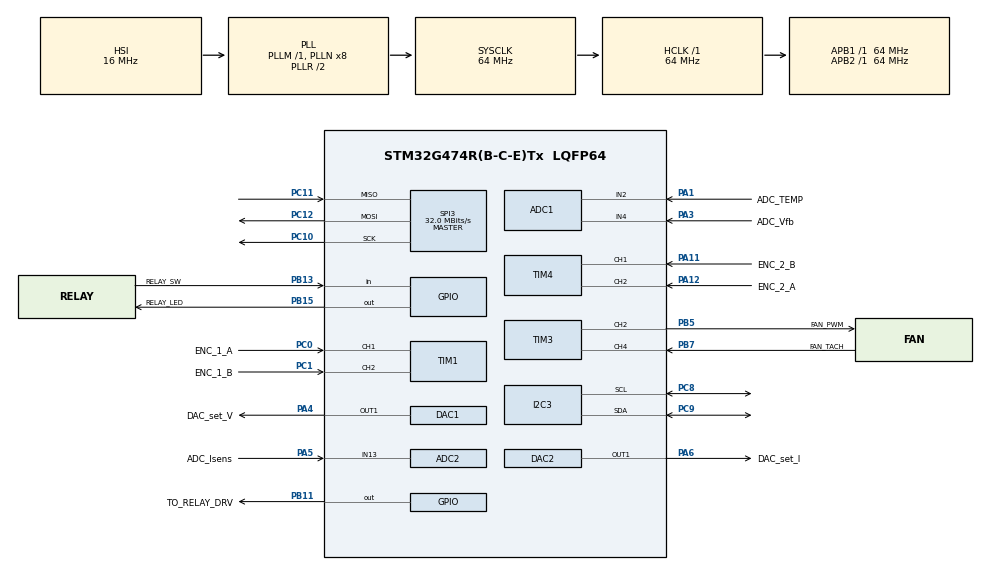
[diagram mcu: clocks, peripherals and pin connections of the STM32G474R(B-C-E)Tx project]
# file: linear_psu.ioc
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ADC1.Channel-0\#ChannelRegularConversion=ADC_CHANNEL_2
ADC1.NbrOfConversionFlag=1
ADC1.OffsetNumber-0\#ChannelRegularConversion=ADC_OFFSET_NONE
ADC1.Rank-0\#ChannelRegularConversion=1
ADC1.SamplingTime-0\#ChannelRegularConversion=ADC_SAMPLETIME_2CYCLES_5
ADC1.master=1
ADC2.Channel-0\#ChannelRegularConversion=ADC_CHANNEL_13
ADC2.NbrOfConversionFlag=1
ADC2.OffsetNumber-0\#ChannelRegularConversion=ADC_OFFSET_NONE
ADC2.Rank-0\#ChannelRegularConversion=1
ADC2.SamplingTime-0\#ChannelRegularConversion=ADC_SAMPLETIME_2CYCLES_5
I2C3.Timing=0x10B17DB5
Mcu.Family=STM32G4
Mcu.Name=STM32G474R(B-C-E)Tx
Mcu.Package=LQFP64
NVIC.PriorityGroup=NVIC_PRIORITYGROUP_4
PA1.GPIO_Label=ADC_TEMP
PA1.Mode=IN2-Single-Ended
PA1.Signal=ADC1_IN2
PA11.GPIO_Label=ENC_2_B
PA11.Signal=S_TIM4_CH1
PA12.GPIO_Label=ENC_2_A
PA12.Signal=S_TIM4_CH2
PA13.Mode=Serial_Wire
PA13.Signal=SYS_JTMS-SWDIO
PA14.Mode=Serial_Wire
PA14.Signal=SYS_JTCK-SWCLK
PA3.GPIO_Label=ADC_Vfb
PA3.Mode=IN4-Single-Ended
PA3.Signal=ADC1_IN4
PA4.GPIO_Label=DAC_set_V
PA4.Signal=COMP_DAC11_group
PA5.GPIO_Label=ADC_Isens
PA5.Mode=IN13-Single-Ended
PA5.Signal=ADC2_IN13
PA6.GPIO_Label=DAC_set_I
PA6.Signal=COMP_DAC21_group
PB11.GPIO_Label=TO_RELAY_DRV
PB11.Signal=GPIO_Output
PB13.GPIO_Label=RELAY_SW
PB13.Signal=GPIO_Input
PB15.GPIO_Label=RELAY_LED
PB15.Signal=GPIO_Output
PB5.GPIO_Label=FAN_PWM
PB5.Signal=S_TIM3_CH2
PB7.GPIO_Label=FAN_TACH
PB7.Signal=S_TIM3_CH4
PC0.GPIO_Label=ENC_1_A
PC0.Signal=S_TIM1_CH1
PC1.GPIO_Label=ENC_1_B
PC1.Signal=S_TIM1_CH2
PC10.Mode=Full_Duplex_Master
PC10.Signal=SPI3_SCK
PC11.Mode=Full_Duplex_Master
PC11.Signal=SPI3_MISO
PC12.Mode=Full_Duplex_Master
PC12.Signal=SPI3_MOSI
PC8.GPIO_Pu=GPIO_PULLUP
PC8.Mode=I2C
PC8.Signal=I2C3_SCL
PC9.GPIO_Pu=GPIO_PULLUP
PC9.Mode=I2C
PC9.Signal=I2C3_SDA
PF0-OSC_IN.Mode=HSE-External-Oscillator
PF0-OSC_IN.Signal=RCC_OSC_IN
PF1-OSC_OUT.Mode=HSE-External-Oscillator
PF1-OSC_OUT.Signal=RCC_OSC_OUT
ProjectManager.HeapSize=0x200
ProjectManager.StackSize=0x400
ProjectManager.TargetToolchain=CMake
RCC.ADC12Freq_Value=64000000
RCC.ADC345Freq_Value=64000000
RCC.AHBFreq_Value=64000000
RCC.APB1Freq_Value=64000000
RCC.APB1TimFreq_Value=64000000
RCC.APB2Freq_Value=64000000
RCC.APB2TimFreq_Value=64000000
RCC.CortexFreq_Value=64000000
RCC.EXTERNAL_CLOCK_VALUE=12288000
RCC.HCLKFreq_Value=64000000
RCC.HSE_VALUE=16000000
RCC.HSI48_VALUE=48000000
RCC.HSI_VALUE=16000000
RCC.LSE_VALUE=32768
RCC.SYSCLKFreq_VALUE=64000000
RCC.SYSCLKSource=RCC_SYSCLKSOURCE_PLLCLK
RCC.USBFreq_Value=64000000
RCC.VCOOutputFreq_Value=128000000
SH.COMP_DAC11_group.0=DAC1_OUT1,DAC_OUT1
SH.COMP_DAC21_group.0=DAC2_OUT1,DAC_OUT1
SH.S_TIM1_CH1.0=TIM1_CH1,Encoder_Interface
SH.S_TIM1_CH2.0=TIM1_CH2,Encoder_Interface
SH.S_TIM3_CH2.0=TIM3_CH2,PWM Generation2 CH2
SH.S_TIM3_CH4.0=TIM3_CH4,Input_Capture4_from_TI4
SH.S_TIM4_CH1.0=TIM4_CH1,Encoder_Interface
SH.S_TIM4_CH2.0=TIM4_CH2,Encoder_Interface
SPI3.CalculateBaudRate=32.0 MBits/s
SPI3.Direction=SPI_DIRECTION_2LINES
SPI3.Mode=SPI_MODE_MASTER
SPI3.VirtualType=VM_MASTER
TIM3.Channel-Input_Capture4_from_TI4=TIM_CHANNEL_4
TIM3.Channel-PWM\ Generation2\ CH2=TIM_CHANNEL_2
VP_SYS_VS_DBSignals.Mode=DisableDeadBatterySignals
board=custom

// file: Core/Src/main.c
/* USER CODE BEGIN Header */
/**
  ******************************************************************************
  * @file           : main.c
  * @brief          : Main program body
  ******************************************************************************
  * @attention
  *
  * Copyright (c) 2025 STMicroelectronics.
  * All rights reserved.
  *
  * This software is licensed under terms that can be found in the LICENSE file
  * in the root directory of this software component.
  * If no LICENSE file comes with this software, it is provided AS-IS.
  *
  ******************************************************************************
  */
/* USER CODE END Header */
#include "main.h"

/* USER CODE BEGIN Includes */
#include "stdio.h"
#include "lcd.h"
/* USER CODE END Includes */

/* USER CODE BEGIN PD */
#define VOLTAGE_VREF 3.3f
#define VFB_DIV_RATIO 11.0f
#define VMIN_mV 1000
#define VMAX_mV 20000
#define IMIN_mA 0
#define IMAX_mA 5000
#define SHUNT_RESISTOR_mOhm 0.04f
#define CURRENT_SENSE_AMP_GAIN 25.0f
#define DAC_RESOLUTION 4095

#define ADC_RESOLUTION 4095

#define DEBOUNCE_DELAY_MS 50
#define COOLDOWN_TIME_MS 1000

/* USER CODE END PD */

ADC_HandleTypeDef hadc1;
ADC_HandleTypeDef hadc2;

DAC_HandleTypeDef hdac1;
DAC_HandleTypeDef hdac2;

I2C_HandleTypeDef hi2c3;

SPI_HandleTypeDef hspi3;

TIM_HandleTypeDef htim1;
TIM_HandleTypeDef htim3;
TIM_HandleTypeDef htim4;

/* USER CODE BEGIN PV */
volatile uint8_t RelayState = 0;
volatile uint32_t LastToggleTime = 0;

uint32_t raw_adc_voltage = 0;
uint32_t raw_adc_current = 0;

float feedback_voltage_V = 0.0f;
float current_sense_voltage_V = 0.0f;

static uint32_t last_button_press_time = 0;
static GPIO_PinState last_button_state = GPIO_PIN_SET;
/* USER CODE END PV */

void SystemClock_Config(void);
static void MX_GPIO_Init(void);
static void MX_ADC1_Init(void);
static void MX_ADC2_Init(void);
static void MX_DAC1_Init(void);
static void MX_DAC2_Init(void);
static void MX_I2C3_Init(void);
static void MX_SPI3_Init(void);
static void MX_TIM1_Init(void);
static void MX_TIM3_Init(void);
static void MX_TIM4_Init(void);
/* USER CODE BEGIN PFP */
void Button_Toggle_Task(void);
static uint16_t MapVoltageToDAC(uint16_t voltage_mv);
static void UpdateLCD(void);
/* USER CODE END PFP */

int main(void)
{

  /* MCU Configuration--------------------------------------------------------*/

  /* Reset of all peripherals, Initializes the Flash interface and the Systick. */
  HAL_Init();

  /* Configure the system clock */
  SystemClock_Config();

  /* Initialize all configured peripherals */
  MX_GPIO_Init();
  MX_ADC1_Init();
  MX_ADC2_Init();
  MX_DAC1_Init();
  MX_DAC2_Init();
  MX_I2C3_Init();
  MX_SPI3_Init();
  MX_TIM1_Init();
  MX_TIM3_Init();
  MX_TIM4_Init();
  /* USER CODE BEGIN 2 */
  HAL_DAC_Start(&hdac1, DAC_CHANNEL_1); // Voltage
  HAL_DAC_Start(&hdac1, DAC_CHANNEL_2); // Current
  uint16_t Vset_mV = 0;
  uint16_t Iset_mA = 0;

  HAL_TIM_Encoder_Start(&htim1, TIM_CHANNEL_ALL);
  HAL_TIM_Encoder_Start(&htim4, TIM_CHANNEL_ALL);
  int16_t last_count_v = __HAL_TIM_GET_COUNTER(&htim1);
  int16_t last_count_i = __HAL_TIM_GET_COUNTER(&htim4);
  int32_t encoder_value_v = 0;
  int32_t encoder_value_i = 0;

  //ADC configuration
  HAL_ADCEx_Calibration_Start(&hadc1, ADC_SINGLE_ENDED);
  HAL_ADCEx_Calibration_Start(&hadc2, ADC_SINGLE_ENDED);
  float output_voltage = 0.0f;
  float load_current_A = 0.0f;

  LCD_init(&hi2c3, 0x27);

  HAL_Delay(2000);
  HAL_GPIO_WritePin(GPIOB, TO_RELAY_DRV_Pin, GPIO_PIN_SET);

  /* USER CODE END 2 */

  /* Infinite loop */
  while (1)
  {
    LCD_clear();
    Button_Toggle_Task();

    int16_t count_v = __HAL_TIM_GET_COUNTER(&htim1);
    int16_t diff_v = count_v - last_count_v;

    int16_t count_i = __HAL_TIM_GET_COUNTER(&htim4);
    int16_t diff_i = count_i - last_count_i;

    if(diff_v > 32767) diff_v -= 65536;
    if(diff_v < -32768) diff_v += 65536;

    if(diff_i > 32767) diff_i -= 65536;
    if(diff_i < -32768) diff_i += 65536;

    encoder_value_v += diff_v;
    last_count_v = count_v;

    encoder_value_i += diff_i;
    last_count_i = count_i;

    Vset_mV = VMIN_mV + encoder_value_v * 10;
    if(Vset_mV < VMIN_mV) Vset_mV = VMIN_mV;
    if(Vset_mV > VMAX_mV) Vset_mV = VMAX_mV;

    Iset_mA = IMIN_mA + encoder_value_i * 5;
    if(Iset_mA < IMIN_mA) Iset_mA = IMIN_mA;
    if(Iset_mA > IMAX_mA) Iset_mA = IMAX_mA;

    uint16_t dac_val_v = MapVoltageToDAC(Vset_mV);
    HAL_DAC_SetValue(&hdac1, DAC_CHANNEL_1, DAC_ALIGN_12B_R, dac_val_v);

    uint16_t dac_val_i = MapCurrentToDAC(Iset_mA);
    HAL_DAC_SetValue(&hdac2, DAC_CHANNEL_1, DAC_ALIGN_12B_R, dac_val_i);

    if (Read_Dual_ADC_Modules(&hadc1, &hadc2, &feedback_voltage_V, &current_sense_voltage_V) == HAL_OK)
    {
      output_voltage = feedback_voltage_V * VFB_DIV_RATIO;
      load_current_A = current_sense_voltage_V / (SHUNT_RESISTOR_mOhm * CURRENT_SENSE_AMP_GAIN);
    }

    char msg[128];
    char msg2[128];
    char msg3[128];
    char msg4[128];
    sprintf(msg, "Set: %d mV %d mA", Vset_mV, Iset_mA);
    LCD_write_str(msg);

    LCD_set_pos(0, 1);
    sprintf(msg2, "Act: %d mV %d mA", output_voltage, load_current_A);
    LCD_write_str(msg2);

    LCD_set_pos(0, 2);
    sprintf(msg3, "hogehoge", 0);
    LCD_write_str(msg3);

    HAL_Delay(100);

  }
}

void SystemClock_Config(void)
{
  RCC_OscInitTypeDef RCC_OscInitStruct = {0};
  RCC_ClkInitTypeDef RCC_ClkInitStruct = {0};

  /** Configure the main internal regulator output voltage
  */
  HAL_PWREx_ControlVoltageScaling(PWR_REGULATOR_VOLTAGE_SCALE1);

  /** Initializes the RCC Oscillators according to the specified parameters
  * in the RCC_OscInitTypeDef structure.
  */
  RCC_OscInitStruct.OscillatorType = RCC_OSCILLATORTYPE_HSI;
  RCC_OscInitStruct.HSIState = RCC_HSI_ON;
  RCC_OscInitStruct.HSICalibrationValue = RCC_HSICALIBRATION_DEFAULT;
  RCC_OscInitStruct.PLL.PLLState = RCC_PLL_ON;
  RCC_OscInitStruct.PLL.PLLSource = RCC_PLLSOURCE_HSI;
  RCC_OscInitStruct.PLL.PLLM = RCC_PLLM_DIV1;
  RCC_OscInitStruct.PLL.PLLN = 8;
  RCC_OscInitStruct.PLL.PLLP = RCC_PLLP_DIV2;
  RCC_OscInitStruct.PLL.PLLQ = RCC_PLLQ_DIV2;
  RCC_OscInitStruct.PLL.PLLR = RCC_PLLR_DIV2;
  if (HAL_RCC_OscConfig(&RCC_OscInitStruct) != HAL_OK)
  {
    Error_Handler();
  }

  /** Initializes the CPU, AHB and APB buses clocks
  */
  RCC_ClkInitStruct.ClockType = RCC_CLOCKTYPE_HCLK|RCC_CLOCKTYPE_SYSCLK
                              |RCC_CLOCKTYPE_PCLK1|RCC_CLOCKTYPE_PCLK2;
  RCC_ClkInitStruct.SYSCLKSource = RCC_SYSCLKSOURCE_PLLCLK;
  RCC_ClkInitStruct.AHBCLKDivider = RCC_SYSCLK_DIV1;
  RCC_ClkInitStruct.APB1CLKDivider = RCC_HCLK_DIV1;
  RCC_ClkInitStruct.APB2CLKDivider = RCC_HCLK_DIV1;

  if (HAL_RCC_ClockConfig(&RCC_ClkInitStruct, FLASH_LATENCY_2) != HAL_OK)
  {
    Error_Handler();
  }
}

static void MX_ADC1_Init(void)
{

  ADC_MultiModeTypeDef multimode = {0};
  ADC_ChannelConfTypeDef sConfig = {0};

  /** Common config
  */
  hadc1.Instance = ADC1;
  hadc1.Init.ClockPrescaler = ADC_CLOCK_SYNC_PCLK_DIV2;
  hadc1.Init.Resolution = ADC_RESOLUTION_12B;
  hadc1.Init.DataAlign = ADC_DATAALIGN_RIGHT;
  hadc1.Init.GainCompensation = 0;
  hadc1.Init.ScanConvMode = ADC_SCAN_DISABLE;
  hadc1.Init.EOCSelection = ADC_EOC_SINGLE_CONV;
  hadc1.Init.LowPowerAutoWait = DISABLE;
  hadc1.Init.ContinuousConvMode = DISABLE;
  hadc1.Init.NbrOfConversion = 1;
  hadc1.Init.DiscontinuousConvMode = DISABLE;
  hadc1.Init.ExternalTrigConv = ADC_SOFTWARE_START;
  hadc1.Init.ExternalTrigConvEdge = ADC_EXTERNALTRIGCONVEDGE_NONE;
  hadc1.Init.DMAContinuousRequests = DISABLE;
  hadc1.Init.Overrun = ADC_OVR_DATA_PRESERVED;
  hadc1.Init.OversamplingMode = DISABLE;
  if (HAL_ADC_Init(&hadc1) != HAL_OK)
  {
    Error_Handler();
  }

  /** Configure the ADC multi-mode
  */
  multimode.Mode = ADC_MODE_INDEPENDENT;
  if (HAL_ADCEx_MultiModeConfigChannel(&hadc1, &multimode) != HAL_OK)
  {
    Error_Handler();
  }

  /** Configure Regular Channel
  */
  sConfig.Channel = ADC_CHANNEL_2;
  sConfig.Rank = ADC_REGULAR_RANK_1;
  sConfig.SamplingTime = ADC_SAMPLETIME_2CYCLES_5;
  sConfig.SingleDiff = ADC_SINGLE_ENDED;
  sConfig.OffsetNumber = ADC_OFFSET_NONE;
  sConfig.Offset = 0;
  if (HAL_ADC_ConfigChannel(&hadc1, &sConfig) != HAL_OK)
  {
    Error_Handler();
  }

}

static void MX_ADC2_Init(void)
{

  ADC_ChannelConfTypeDef sConfig = {0};

  /** Common config
  */
  hadc2.Instance = ADC2;
  hadc2.Init.ClockPrescaler = ADC_CLOCK_SYNC_PCLK_DIV2;
  hadc2.Init.Resolution = ADC_RESOLUTION_12B;
  hadc2.Init.DataAlign = ADC_DATAALIGN_RIGHT;
  hadc2.Init.GainCompensation = 0;
  hadc2.Init.ScanConvMode = ADC_SCAN_DISABLE;
  hadc2.Init.EOCSelection = ADC_EOC_SINGLE_CONV;
  hadc2.Init.LowPowerAutoWait = DISABLE;
  hadc2.Init.ContinuousConvMode = DISABLE;
  hadc2.Init.NbrOfConversion = 1;
  hadc2.Init.DiscontinuousConvMode = DISABLE;
  hadc2.Init.ExternalTrigConv = ADC_SOFTWARE_START;
  hadc2.Init.ExternalTrigConvEdge = ADC_EXTERNALTRIGCONVEDGE_NONE;
  hadc2.Init.DMAContinuousRequests = DISABLE;
  hadc2.Init.Overrun = ADC_OVR_DATA_PRESERVED;
  hadc2.Init.OversamplingMode = DISABLE;
  if (HAL_ADC_Init(&hadc2) != HAL_OK)
  {
    Error_Handler();
  }

  /** Configure Regular Channel
  */
  sConfig.Channel = ADC_CHANNEL_13;
  sConfig.Rank = ADC_REGULAR_RANK_1;
  sConfig.SamplingTime = ADC_SAMPLETIME_2CYCLES_5;
  sConfig.SingleDiff = ADC_SINGLE_ENDED;
  sConfig.OffsetNumber = ADC_OFFSET_NONE;
  sConfig.Offset = 0;
  if (HAL_ADC_ConfigChannel(&hadc2, &sConfig) != HAL_OK)
  {
    Error_Handler();
  }

}

static void MX_DAC1_Init(void)
{

  DAC_ChannelConfTypeDef sConfig = {0};

  /** DAC Initialization
  */
  hdac1.Instance = DAC1;
  if (HAL_DAC_Init(&hdac1) != HAL_OK)
  {
    Error_Handler();
  }

  /** DAC channel OUT1 config
  */
  sConfig.DAC_HighFrequency = DAC_HIGH_FREQUENCY_INTERFACE_MODE_AUTOMATIC;
  sConfig.DAC_DMADoubleDataMode = DISABLE;
  sConfig.DAC_SignedFormat = DISABLE;
  sConfig.DAC_SampleAndHold = DAC_SAMPLEANDHOLD_DISABLE;
  sConfig.DAC_Trigger = DAC_TRIGGER_NONE;
  sConfig.DAC_Trigger2 = DAC_TRIGGER_NONE;
  sConfig.DAC_OutputBuffer = DAC_OUTPUTBUFFER_ENABLE;
  sConfig.DAC_ConnectOnChipPeripheral = DAC_CHIPCONNECT_EXTERNAL;
  sConfig.DAC_UserTrimming = DAC_TRIMMING_FACTORY;
  if (HAL_DAC_ConfigChannel(&hdac1, &sConfig, DAC_CHANNEL_1) != HAL_OK)
  {
    Error_Handler();
  }

}

static void MX_DAC2_Init(void)
{

  DAC_ChannelConfTypeDef sConfig = {0};

  /** DAC Initialization
  */
  hdac2.Instance = DAC2;
  if (HAL_DAC_Init(&hdac2) != HAL_OK)
  {
    Error_Handler();
  }

  /** DAC channel OUT1 config
  */
  sConfig.DAC_HighFrequency = DAC_HIGH_FREQUENCY_INTERFACE_MODE_AUTOMATIC;
  sConfig.DAC_DMADoubleDataMode = DISABLE;
  sConfig.DAC_SignedFormat = DISABLE;
  sConfig.DAC_SampleAndHold = DAC_SAMPLEANDHOLD_DISABLE;
  sConfig.DAC_Trigger = DAC_TRIGGER_NONE;
  sConfig.DAC_Trigger2 = DAC_TRIGGER_NONE;
  sConfig.DAC_OutputBuffer = DAC_OUTPUTBUFFER_ENABLE;
  sConfig.DAC_ConnectOnChipPeripheral = DAC_CHIPCONNECT_EXTERNAL;
  sConfig.DAC_UserTrimming = DAC_TRIMMING_FACTORY;
  if (HAL_DAC_ConfigChannel(&hdac2, &sConfig, DAC_CHANNEL_1) != HAL_OK)
  {
    Error_Handler();
  }

}

static void MX_I2C3_Init(void)
{

  hi2c3.Instance = I2C3;
  hi2c3.Init.Timing = 0x10B17DB5;
  hi2c3.Init.OwnAddress1 = 0;
  hi2c3.Init.AddressingMode = I2C_ADDRESSINGMODE_7BIT;
  hi2c3.Init.DualAddressMode = I2C_DUALADDRESS_DISABLE;
  hi2c3.Init.OwnAddress2 = 0;
  hi2c3.Init.OwnAddress2Masks = I2C_OA2_NOMASK;
  hi2c3.Init.GeneralCallMode = I2C_GENERALCALL_DISABLE;
  hi2c3.Init.NoStretchMode = I2C_NOSTRETCH_DISABLE;
  if (HAL_I2C_Init(&hi2c3) != HAL_OK)
  {
    Error_Handler();
  }

  /** Configure Analogue filter
  */
  if (HAL_I2CEx_ConfigAnalogFilter(&hi2c3, I2C_ANALOGFILTER_ENABLE) != HAL_OK)
  {
    Error_Handler();
  }

  /** Configure Digital filter
  */
  if (HAL_I2CEx_ConfigDigitalFilter(&hi2c3, 0) != HAL_OK)
  {
    Error_Handler();
  }

}

static void MX_SPI3_Init(void)
{

  /* SPI3 parameter configuration*/
  hspi3.Instance = SPI3;
  hspi3.Init.Mode = SPI_MODE_MASTER;
  hspi3.Init.Direction = SPI_DIRECTION_2LINES;
  hspi3.Init.DataSize = SPI_DATASIZE_4BIT;
  hspi3.Init.CLKPolarity = SPI_POLARITY_LOW;
  hspi3.Init.CLKPhase = SPI_PHASE_1EDGE;
  hspi3.Init.NSS = SPI_NSS_SOFT;
  hspi3.Init.BaudRatePrescaler = SPI_BAUDRATEPRESCALER_2;
  hspi3.Init.FirstBit = SPI_FIRSTBIT_MSB;
  hspi3.Init.TIMode = SPI_TIMODE_DISABLE;
  hspi3.Init.CRCCalculation = SPI_CRCCALCULATION_DISABLE;
  hspi3.Init.CRCPolynomial = 7;
  hspi3.Init.CRCLength = SPI_CRC_LENGTH_DATASIZE;
  hspi3.Init.NSSPMode = SPI_NSS_PULSE_ENABLE;
  if (HAL_SPI_Init(&hspi3) != HAL_OK)
  {
    Error_Handler();
  }

}

static void MX_TIM1_Init(void)
{

  TIM_Encoder_InitTypeDef sConfig = {0};
  TIM_MasterConfigTypeDef sMasterConfig = {0};

  htim1.Instance = TIM1;
  htim1.Init.Prescaler = 0;
  htim1.Init.CounterMode = TIM_COUNTERMODE_UP;
  htim1.Init.Period = 65535;
  htim1.Init.ClockDivision = TIM_CLOCKDIVISION_DIV1;
  htim1.Init.RepetitionCounter = 0;
  htim1.Init.AutoReloadPreload = TIM_AUTORELOAD_PRELOAD_DISABLE;
  sConfig.EncoderMode = TIM_ENCODERMODE_TI1;
  sConfig.IC1Polarity = TIM_ICPOLARITY_RISING;
  sConfig.IC1Selection = TIM_ICSELECTION_DIRECTTI;
  sConfig.IC1Prescaler = TIM_ICPSC_DIV1;
  sConfig.IC1Filter = 0;
  sConfig.IC2Polarity = TIM_ICPOLARITY_RISING;
  sConfig.IC2Selection = TIM_ICSELECTION_DIRECTTI;
  sConfig.IC2Prescaler = TIM_ICPSC_DIV1;
  sConfig.IC2Filter = 0;
  if (HAL_TIM_Encoder_Init(&htim1, &sConfig) != HAL_OK)
  {
    Error_Handler();
  }
  sMasterConfig.MasterOutputTrigger = TIM_TRGO_RESET;
  sMasterConfig.MasterOutputTrigger2 = TIM_TRGO2_RESET;
  sMasterConfig.MasterSlaveMode = TIM_MASTERSLAVEMODE_DISABLE;
  if (HAL_TIMEx_MasterConfigSynchronization(&htim1, &sMasterConfig) != HAL_OK)
  {
    Error_Handler();
  }

}

static void MX_TIM3_Init(void)
{

  TIM_MasterConfigTypeDef sMasterConfig = {0};
  TIM_OC_InitTypeDef sConfigOC = {0};
  TIM_IC_InitTypeDef sConfigIC = {0};

  htim3.Instance = TIM3;
  htim3.Init.Prescaler = 0;
  htim3.Init.CounterMode = TIM_COUNTERMODE_UP;
  htim3.Init.Period = 65535;
  htim3.Init.ClockDivision = TIM_CLOCKDIVISION_DIV1;
  htim3.Init.AutoReloadPreload = TIM_AUTORELOAD_PRELOAD_DISABLE;
  if (HAL_TIM_PWM_Init(&htim3) != HAL_OK)
  {
    Error_Handler();
  }
  if (HAL_TIM_IC_Init(&htim3) != HAL_OK)
  {
    Error_Handler();
  }
  sMasterConfig.MasterOutputTrigger = TIM_TRGO_RESET;
  sMasterConfig.MasterSlaveMode = TIM_MASTERSLAVEMODE_DISABLE;
  if (HAL_TIMEx_MasterConfigSynchronization(&htim3, &sMasterConfig) != HAL_OK)
  {
    Error_Handler();
  }
  sConfigOC.OCMode = TIM_OCMODE_PWM1;
  sConfigOC.Pulse = 0;
  sConfigOC.OCPolarity = TIM_OCPOLARITY_HIGH;
  sConfigOC.OCFastMode = TIM_OCFAST_DISABLE;
  if (HAL_TIM_PWM_ConfigChannel(&htim3, &sConfigOC, TIM_CHANNEL_2) != HAL_OK)
  {
    Error_Handler();
  }
  sConfigIC.ICPolarity = TIM_INPUTCHANNELPOLARITY_RISING;
  sConfigIC.ICSelection = TIM_ICSELECTION_DIRECTTI;
  sConfigIC.ICPrescaler = TIM_ICPSC_DIV1;
  sConfigIC.ICFilter = 0;
  if (HAL_TIM_IC_ConfigChannel(&htim3, &sConfigIC, TIM_CHANNEL_4) != HAL_OK)
  {
    Error_Handler();
  }
  HAL_TIM_MspPostInit(&htim3);

}

static void MX_TIM4_Init(void)
{

  TIM_Encoder_InitTypeDef sConfig = {0};
  TIM_MasterConfigTypeDef sMasterConfig = {0};

  htim4.Instance = TIM4;
  htim4.Init.Prescaler = 0;
  htim4.Init.CounterMode = TIM_COUNTERMODE_UP;
  htim4.Init.Period = 65535;
  htim4.Init.ClockDivision = TIM_CLOCKDIVISION_DIV1;
  htim4.Init.AutoReloadPreload = TIM_AUTORELOAD_PRELOAD_DISABLE;
  sConfig.EncoderMode = TIM_ENCODERMODE_TI1;
  sConfig.IC1Polarity = TIM_ICPOLARITY_RISING;
  sConfig.IC1Selection = TIM_ICSELECTION_DIRECTTI;
  sConfig.IC1Prescaler = TIM_ICPSC_DIV1;
  sConfig.IC1Filter = 0;
  sConfig.IC2Polarity = TIM_ICPOLARITY_RISING;
  sConfig.IC2Selection = TIM_ICSELECTION_DIRECTTI;
  sConfig.IC2Prescaler = TIM_ICPSC_DIV1;
  sConfig.IC2Filter = 0;
  if (HAL_TIM_Encoder_Init(&htim4, &sConfig) != HAL_OK)
  {
    Error_Handler();
  }
  sMasterConfig.MasterOutputTrigger = TIM_TRGO_RESET;
  sMasterConfig.MasterSlaveMode = TIM_MASTERSLAVEMODE_DISABLE;
  if (HAL_TIMEx_MasterConfigSynchronization(&htim4, &sMasterConfig) != HAL_OK)
  {
    Error_Handler();
  }

}

static void MX_GPIO_Init(void)
{
  GPIO_InitTypeDef GPIO_InitStruct = {0};

  /* GPIO Ports Clock Enable */
  __HAL_RCC_GPIOF_CLK_ENABLE();
  __HAL_RCC_GPIOC_CLK_ENABLE();
  __HAL_RCC_GPIOA_CLK_ENABLE();
  __HAL_RCC_GPIOB_CLK_ENABLE();

  /*Configure GPIO pin Output Level */
  HAL_GPIO_WritePin(GPIOB, TO_RELAY_DRV_Pin|RELAY_LED_Pin, GPIO_PIN_RESET);

  /*Configure GPIO pins : TO_RELAY_DRV_Pin RELAY_LED_Pin */
  GPIO_InitStruct.Pin = TO_RELAY_DRV_Pin|RELAY_LED_Pin;
  GPIO_InitStruct.Mode = GPIO_MODE_OUTPUT_PP;
  GPIO_InitStruct.Pull = GPIO_NOPULL;
  GPIO_InitStruct.Speed = GPIO_SPEED_FREQ_LOW;
  HAL_GPIO_Init(GPIOB, &GPIO_InitStruct);

  /*Configure GPIO pin : RELAY_SW_Pin */
  GPIO_InitStruct.Pin = RELAY_SW_Pin;
  GPIO_InitStruct.Mode = GPIO_MODE_INPUT;
  GPIO_InitStruct.Pull = GPIO_NOPULL;
  HAL_GPIO_Init(RELAY_SW_GPIO_Port, &GPIO_InitStruct);

}

/* USER CODE BEGIN 4 */
static uint16_t MapVoltageToDAC(uint16_t voltage_mv)
{
  float Vdac = ((float)voltage_mv / 1000.0f) / VFB_DIV_RATIO;
  float dac_ratio = Vdac / VOLTAGE_VREF;
  uint16_t dac_val = (uint16_t)(dac_ratio * DAC_RESOLUTION);

  if (dac_val > DAC_RESOLUTION) dac_val = DAC_RESOLUTION;
  return dac_val;
}

static uint16_t MapCurrentToDAC(uint16_t current_ma)
{
  float Idac = ((float)current_ma / 1000.0f) * SHUNT_RESISTOR_mOhm * CURRENT_SENSE_AMP_GAIN;
  float dac_ratio = Idac / VOLTAGE_VREF;
  uint16_t dac_val = (uint16_t)(dac_ratio * DAC_RESOLUTION);

  if (dac_val > DAC_RESOLUTION) dac_val = DAC_RESOLUTION;
  return dac_val;
}

void Button_Toggle_Task(void)
{
    GPIO_PinState current_button_state = HAL_GPIO_ReadPin(GPIOB, RELAY_SW_Pin);
    uint32_t current_time = HAL_GetTick();

    if (current_button_state == GPIO_PIN_RESET && last_button_state == GPIO_PIN_SET)
    {
        if ((current_time - last_button_press_time) > DEBOUNCE_DELAY_MS)
        {
            if ((current_time - LastToggleTime) >= COOLDOWN_TIME_MS)
            {
                RelayState = !RelayState;

                if (RelayState)
                {
                    HAL_GPIO_WritePin(GPIOB, TO_RELAY_DRV_Pin, GPIO_PIN_SET);
                    HAL_GPIO_WritePin(GPIOB, RELAY_LED_Pin, GPIO_PIN_SET);
                }
                else
                {
                    HAL_GPIO_WritePin(GPIOB, TO_RELAY_DRV_Pin, GPIO_PIN_RESET);
                    HAL_GPIO_WritePin(GPIOB, RELAY_LED_Pin, GPIO_PIN_RESET);
                }

                LastToggleTime = current_time;

                last_button_press_time = current_time;
            }
        }
    }

    last_button_state = current_button_state;
}
HAL_StatusTypeDef Read_Dual_ADC_Modules(ADC_HandleTypeDef *hadc_fb, ADC_HandleTypeDef *hadc_cs,
                                        float *p_feedback_V, float *p_current_V)
{
    uint32_t raw_adc_fb;
    uint32_t raw_adc_cs;

    // ----------------------------------------------------------------
    // 1. 帰還電圧 (hadc1) の読み取り
    // ----------------------------------------------------------------
    if (HAL_ADC_Start(hadc_fb) != HAL_OK) return HAL_ERROR;
    if (HAL_ADC_PollForConversion(hadc_fb, 10) != HAL_OK)
    {
        HAL_ADC_Stop(hadc_fb);
        return HAL_ERROR;
    }
    raw_adc_fb = HAL_ADC_GetValue(hadc_fb);
    HAL_ADC_Stop(hadc_fb);

    // ----------------------------------------------------------------
    // 2. 電流センス電圧 (hadc2) の読み取り
    // ----------------------------------------------------------------
    if (HAL_ADC_Start(hadc_cs) != HAL_OK) return HAL_ERROR;
    if (HAL_ADC_PollForConversion(hadc_cs, 10) != HAL_OK)
    {
        HAL_ADC_Stop(hadc_cs);
        return HAL_ERROR;
    }
    raw_adc_cs = HAL_ADC_GetValue(hadc_cs);
    HAL_ADC_Stop(hadc_cs);

    // ----------------------------------------------------------------
    // 3. 電圧値への変換と格納
    // ----------------------------------------------------------------

    // 帰還電圧 (hadc1) の変換
    *p_feedback_V = ((float)raw_adc_fb / ADC_RESOLUTION) * VOLTAGE_VREF;

    // 電流センス電圧 (hadc2) の変換
    *p_current_V = ((float)raw_adc_cs / ADC_RESOLUTION) * VOLTAGE_VREF;

    return HAL_OK;
}

/* USER CODE END 4 */

void Error_Handler(void)
{
  __disable_irq();
  while (1)
  {
  }
}
